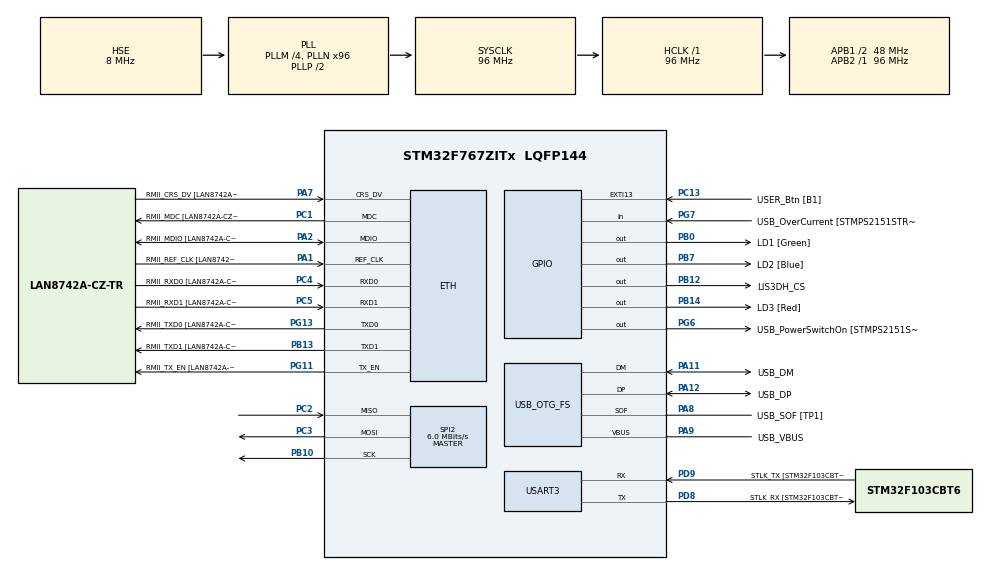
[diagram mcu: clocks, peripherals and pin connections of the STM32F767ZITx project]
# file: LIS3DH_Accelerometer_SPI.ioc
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ETH.MediaInterface=HAL_ETH_RMII_MODE
ETH.PHY_Name=LAN8742A_PHY_ADDRESS
ETH.PHY_Value=0
ETH.PhyAddress=0
Mcu.Family=STM32F7
Mcu.Name=STM32F767ZITx
Mcu.Package=LQFP144
NVIC.PriorityGroup=NVIC_PRIORITYGROUP_4
PA1.GPIO_Label=RMII_REF_CLK [LAN8742A-CZ-TR_REFCLK0]
PA1.Mode=RMII
PA1.Signal=ETH_REF_CLK
PA10.GPIO_Label=USB_ID
PA10.Signal=USB_OTG_FS_ID
PA11.GPIO_Label=USB_DM
PA11.Mode=Device_Only
PA11.Signal=USB_OTG_FS_DM
PA12.GPIO_Label=USB_DP
PA12.Mode=Device_Only
PA12.Signal=USB_OTG_FS_DP
PA13.GPIO_Label=TMS
PA13.Mode=Serial_Wire
PA13.Signal=SYS_JTMS-SWDIO
PA14.GPIO_Label=TCK
PA14.Mode=Serial_Wire
PA14.Signal=SYS_JTCK-SWCLK
PA2.GPIO_Label=RMII_MDIO [LAN8742A-CZ-TR_MDIO]
PA2.Mode=RMII
PA2.Signal=ETH_MDIO
PA7.GPIO_Label=RMII_CRS_DV [LAN8742A-CZ-TR_CRS_DV]
PA7.Mode=RMII
PA7.Signal=ETH_CRS_DV
PA8.GPIO_Label=USB_SOF [TP1]
PA8.Mode=Activate_SOF_FS
PA8.Signal=USB_OTG_FS_SOF
PA9.GPIO_Label=USB_VBUS
PA9.Mode=Activate_VBUS
PA9.Signal=USB_OTG_FS_VBUS
PB0.GPIO_Label=LD1 [Green]
PB0.Signal=GPIO_Output
PB10.Mode=Full_Duplex_Master
PB10.Signal=SPI2_SCK
PB12.GPIO_Label=LIS3DH_CS
PB12.PinState=GPIO_PIN_SET
PB12.Signal=GPIO_Output
PB13.GPIO_Label=RMII_TXD1 [LAN8742A-CZ-TR_TXD1]
PB13.Mode=RMII
PB13.Signal=ETH_TXD1
PB14.GPIO_Label=LD3 [Red]
PB14.Signal=GPIO_Output
PB3.GPIO_Label=SWO
PB3.Signal=SYS_JTDO-SWO
PB7.GPIO_Label=LD2 [Blue]
PB7.Signal=GPIO_Output
PC1.GPIO_Label=RMII_MDC [LAN8742A-CZ-TR_MDC]
PC1.Mode=RMII
PC1.Signal=ETH_MDC
PC13.GPIO_Label=USER_Btn [B1]
PC13.Signal=GPXTI13
PC14/OSC32_IN.Mode=LSE-External-Oscillator
PC14/OSC32_IN.Signal=RCC_OSC32_IN
PC15/OSC32_OUT.Mode=LSE-External-Oscillator
PC15/OSC32_OUT.Signal=RCC_OSC32_OUT
PC2.Mode=Full_Duplex_Master
PC2.Signal=SPI2_MISO
PC3.Mode=Full_Duplex_Master
PC3.Signal=SPI2_MOSI
PC4.GPIO_Label=RMII_RXD0 [LAN8742A-CZ-TR_RXD0]
PC4.Mode=RMII
PC4.Signal=ETH_RXD0
PC5.GPIO_Label=RMII_RXD1 [LAN8742A-CZ-TR_RXD1]
PC5.Mode=RMII
PC5.Signal=ETH_RXD1
PD8.GPIO_Label=STLK_RX [STM32F103CBT6_PA3]
PD8.Mode=Asynchronous
PD8.Signal=USART3_TX
PD9.GPIO_Label=STLK_TX [STM32F103CBT6_PA2]
PD9.Mode=Asynchronous
PD9.Signal=USART3_RX
PG11.GPIO_Label=RMII_TX_EN [LAN8742A-CZ-TR_TXEN]
PG11.Mode=RMII
PG11.Signal=ETH_TX_EN
PG13.GPIO_Label=RMII_TXD0 [LAN8742A-CZ-TR_TXD0]
PG13.Mode=RMII
PG13.Signal=ETH_TXD0
PG6.GPIO_Label=USB_PowerSwitchOn [STMPS2151STR_EN]
PG6.Signal=GPIO_Output
PG7.GPIO_Label=USB_OverCurrent [STMPS2151STR_FAULT]
PG7.Signal=GPIO_Input
PH0/OSC_IN.GPIO_Label=MCO [STM32F103CBT6_PA8]
PH0/OSC_IN.Mode=HSE-External-Clock-Source
PH0/OSC_IN.Signal=RCC_OSC_IN
PH1/OSC_OUT.Mode=HSE-External-Clock-Source
PH1/OSC_OUT.Signal=RCC_OSC_OUT
ProjectManager.HeapSize=0x200
ProjectManager.StackSize=0x400
ProjectManager.TargetToolchain=STM32CubeIDE
RCC.48MHZClocksFreq_Value=24000000
RCC.AHBFreq_Value=96000000
RCC.APB1CLKDivider=RCC_HCLK_DIV2
RCC.APB1Freq_Value=48000000
RCC.APB1TimFreq_Value=96000000
RCC.APB2Freq_Value=96000000
RCC.APB2TimFreq_Value=96000000
RCC.CortexFreq_Value=96000000
RCC.HCLKFreq_Value=96000000
RCC.HSE_VALUE=8000000
RCC.HSI_VALUE=16000000
RCC.PLLM=4
RCC.PLLMUL=RCC_PLL_MUL9
RCC.PLLN=96
RCC.PLLQ=4
RCC.PRESCALERUSB=RCC_USBCLKSOURCE_PLL_DIV1_5
RCC.SYSCLKFreq_VALUE=96000000
RCC.SYSCLKSource=RCC_SYSCLKSOURCE_PLLCLK
RCC.SYSCLKSourceVirtual=RCC_SYSCLKSOURCE_PLLCLK
RCC.USBFreq_Value=48000000
RCC.VCOOutputFreq_Value=192000000
SPI2.BaudRatePrescaler=SPI_BAUDRATEPRESCALER_8
SPI2.CalculateBaudRate=6.0 MBits/s
SPI2.DataSize=SPI_DATASIZE_8BIT
SPI2.Direction=SPI_DIRECTION_2LINES
SPI2.Mode=SPI_MODE_MASTER
SPI2.VirtualType=VM_MASTER
USART3.VirtualMode-Asynchronous=VM_ASYNC
USB_OTG_FS.VirtualMode=Device_Only
board=NUCLEO-F767ZI

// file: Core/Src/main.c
/* USER CODE BEGIN Header */
/**
  ******************************************************************************
  * @file           : main.c
  * @brief          : Main program body
  ******************************************************************************
  * @attention
  *
  * Copyright (c) 2025 STMicroelectronics.
  * All rights reserved.
  *
  * This software is licensed under terms that can be found in the LICENSE file
  * in the root directory of this software component.
  * If no LICENSE file comes with this software, it is provided AS-IS.
  *
  ******************************************************************************
  */
/* USER CODE END Header */
#include "main.h"
#include "string.h"

/* USER CODE BEGIN Includes */
#include "lis3dh.h"
#include <stdio.h>
#include <string.h>
/* USER CODE END Includes */

#if defined ( __ICCARM__ ) /*!< IAR Compiler */
#pragma location=0x2007c000
ETH_DMADescTypeDef  DMARxDscrTab[ETH_RX_DESC_CNT]; /* Ethernet Rx DMA Descriptors */
#pragma location=0x2007c0a0
ETH_DMADescTypeDef  DMATxDscrTab[ETH_TX_DESC_CNT]; /* Ethernet Tx DMA Descriptors */

#elif defined ( __CC_ARM )  /* MDK ARM Compiler */

__attribute__((at(0x2007c000))) ETH_DMADescTypeDef  DMARxDscrTab[ETH_RX_DESC_CNT]; /* Ethernet Rx DMA Descriptors */
__attribute__((at(0x2007c0a0))) ETH_DMADescTypeDef  DMATxDscrTab[ETH_TX_DESC_CNT]; /* Ethernet Tx DMA Descriptors */

#elif defined ( __GNUC__ ) /* GNU Compiler */

ETH_DMADescTypeDef DMARxDscrTab[ETH_RX_DESC_CNT] __attribute__((section(".RxDecripSection"))); /* Ethernet Rx DMA Descriptors */
ETH_DMADescTypeDef DMATxDscrTab[ETH_TX_DESC_CNT] __attribute__((section(".TxDecripSection")));   /* Ethernet Tx DMA Descriptors */
#endif

ETH_TxPacketConfig TxConfig;

ETH_HandleTypeDef heth;

SPI_HandleTypeDef hspi2;

UART_HandleTypeDef huart3;

PCD_HandleTypeDef hpcd_USB_OTG_FS;

/* USER CODE BEGIN PV */
LIS3DH_Data accel_data;
char uart_buffer[100];
/* USER CODE END PV */

void SystemClock_Config(void);
static void MX_GPIO_Init(void);
static void MX_ETH_Init(void);
static void MX_USART3_UART_Init(void);
static void MX_USB_OTG_FS_PCD_Init(void);
static void MX_SPI2_Init(void);

int main(void)
{

  /* MCU Configuration--------------------------------------------------------*/

  /* Reset of all peripherals, Initializes the Flash interface and the Systick. */
  HAL_Init();

  /* Configure the system clock */
  SystemClock_Config();

  /* Initialize all configured peripherals */
  MX_GPIO_Init();
  MX_ETH_Init();
  MX_USART3_UART_Init();
  MX_USB_OTG_FS_PCD_Init();
  MX_SPI2_Init();
  /* USER CODE BEGIN 2 */
  /* USER CODE BEGIN 2 */
  /* USER CODE BEGIN 2 */
  sprintf(uart_buffer, "\r\n=== LIS3DH Test with SPI2 ===\r\n");
  HAL_UART_Transmit(&huart3, (uint8_t*)uart_buffer, strlen(uart_buffer), 100);

  sprintf(uart_buffer, "Connections: PB10=SCK, PC3=MOSI, PC2=MISO, PB12=CS\r\n\r\n");
  HAL_UART_Transmit(&huart3, (uint8_t*)uart_buffer, strlen(uart_buffer), 100);

  // CS pinini HIGH yap
  HAL_GPIO_WritePin(LIS3DH_CS_GPIO_Port, LIS3DH_CS_Pin, GPIO_PIN_SET);
  HAL_Delay(100);

  // LIS3DH sensörünü başlat (hspi2 kullan!)
  uint8_t sensor_id = LIS3DH_Init(&hspi2);  // ← ÖNEMLİ: hspi1 değil, hspi2!

  sprintf(uart_buffer, "Device ID: 0x%02X (Expected: 0x33)\r\n", sensor_id);
  HAL_UART_Transmit(&huart3, (uint8_t*)uart_buffer, strlen(uart_buffer), 100);

  if (sensor_id == LIS3DH_ID) {
      sprintf(uart_buffer, "SUCCESS! LIS3DH initialized!\r\n\r\n");
      HAL_UART_Transmit(&huart3, (uint8_t*)uart_buffer, strlen(uart_buffer), 100);
  } else {
      sprintf(uart_buffer, "FAILED! Check connections.\r\n\r\n");
      HAL_UART_Transmit(&huart3, (uint8_t*)uart_buffer, strlen(uart_buffer), 100);
  }
  /* USER CODE END 2 */

  /* Infinite loop */
  /* USER CODE BEGIN WHILE */
  while (1)
  {
	  // İvme verilerini oku
	      LIS3DH_ReadAccel(&hspi2, &accel_data);

	      // Terminal'e yazdır
	      sprintf(uart_buffer, "X: %6d (%+.3fg) | Y: %6d (%+.3fg) | Z: %6d (%+.3fg)\r\n",
	              accel_data.x, accel_data.x_g,
	              accel_data.y, accel_data.y_g,
	              accel_data.z, accel_data.z_g);

	      HAL_UART_Transmit(&huart3, (uint8_t*)uart_buffer, strlen(uart_buffer), 100);

	      HAL_Delay(500); // 500ms bekleme
    /* USER CODE END WHILE */

  }
}

void SystemClock_Config(void)
{
  RCC_OscInitTypeDef RCC_OscInitStruct = {0};
  RCC_ClkInitTypeDef RCC_ClkInitStruct = {0};

  /** Configure LSE Drive Capability
  */
  HAL_PWR_EnableBkUpAccess();

  /** Configure the main internal regulator output voltage
  */
  __HAL_RCC_PWR_CLK_ENABLE();
  __HAL_PWR_VOLTAGESCALING_CONFIG(PWR_REGULATOR_VOLTAGE_SCALE3);

  /** Initializes the RCC Oscillators according to the specified parameters
  * in the RCC_OscInitTypeDef structure.
  */
  RCC_OscInitStruct.OscillatorType = RCC_OSCILLATORTYPE_HSE;
  RCC_OscInitStruct.HSEState = RCC_HSE_BYPASS;
  RCC_OscInitStruct.PLL.PLLState = RCC_PLL_ON;
  RCC_OscInitStruct.PLL.PLLSource = RCC_PLLSOURCE_HSE;
  RCC_OscInitStruct.PLL.PLLM = 4;
  RCC_OscInitStruct.PLL.PLLN = 96;
  RCC_OscInitStruct.PLL.PLLP = RCC_PLLP_DIV2;
  RCC_OscInitStruct.PLL.PLLQ = 4;
  RCC_OscInitStruct.PLL.PLLR = 2;
  if (HAL_RCC_OscConfig(&RCC_OscInitStruct) != HAL_OK)
  {
    Error_Handler();
  }

  /** Activate the Over-Drive mode
  */
  if (HAL_PWREx_EnableOverDrive() != HAL_OK)
  {
    Error_Handler();
  }

  /** Initializes the CPU, AHB and APB buses clocks
  */
  RCC_ClkInitStruct.ClockType = RCC_CLOCKTYPE_HCLK|RCC_CLOCKTYPE_SYSCLK
                              |RCC_CLOCKTYPE_PCLK1|RCC_CLOCKTYPE_PCLK2;
  RCC_ClkInitStruct.SYSCLKSource = RCC_SYSCLKSOURCE_PLLCLK;
  RCC_ClkInitStruct.AHBCLKDivider = RCC_SYSCLK_DIV1;
  RCC_ClkInitStruct.APB1CLKDivider = RCC_HCLK_DIV2;
  RCC_ClkInitStruct.APB2CLKDivider = RCC_HCLK_DIV1;

  if (HAL_RCC_ClockConfig(&RCC_ClkInitStruct, FLASH_LATENCY_3) != HAL_OK)
  {
    Error_Handler();
  }
}

static void MX_ETH_Init(void)
{

   static uint8_t MACAddr[6];

  heth.Instance = ETH;
  MACAddr[0] = 0x00;
  MACAddr[1] = 0x80;
  MACAddr[2] = 0xE1;
  MACAddr[3] = 0x00;
  MACAddr[4] = 0x00;
  MACAddr[5] = 0x00;
  heth.Init.MACAddr = &MACAddr[0];
  heth.Init.MediaInterface = HAL_ETH_RMII_MODE;
  heth.Init.TxDesc = DMATxDscrTab;
  heth.Init.RxDesc = DMARxDscrTab;
  heth.Init.RxBuffLen = 1524;

  if (HAL_ETH_Init(&heth) != HAL_OK)
  {
    Error_Handler();
  }

  memset(&TxConfig, 0 , sizeof(ETH_TxPacketConfig));
  TxConfig.Attributes = ETH_TX_PACKETS_FEATURES_CSUM | ETH_TX_PACKETS_FEATURES_CRCPAD;
  TxConfig.ChecksumCtrl = ETH_CHECKSUM_IPHDR_PAYLOAD_INSERT_PHDR_CALC;
  TxConfig.CRCPadCtrl = ETH_CRC_PAD_INSERT;

}

static void MX_SPI2_Init(void)
{

  /* SPI2 parameter configuration*/
  hspi2.Instance = SPI2;
  hspi2.Init.Mode = SPI_MODE_MASTER;
  hspi2.Init.Direction = SPI_DIRECTION_2LINES;
  hspi2.Init.DataSize = SPI_DATASIZE_8BIT;
  hspi2.Init.CLKPolarity = SPI_POLARITY_LOW;
  hspi2.Init.CLKPhase = SPI_PHASE_1EDGE;
  hspi2.Init.NSS = SPI_NSS_SOFT;
  hspi2.Init.BaudRatePrescaler = SPI_BAUDRATEPRESCALER_8;
  hspi2.Init.FirstBit = SPI_FIRSTBIT_MSB;
  hspi2.Init.TIMode = SPI_TIMODE_DISABLE;
  hspi2.Init.CRCCalculation = SPI_CRCCALCULATION_DISABLE;
  hspi2.Init.CRCPolynomial = 7;
  hspi2.Init.CRCLength = SPI_CRC_LENGTH_DATASIZE;
  hspi2.Init.NSSPMode = SPI_NSS_PULSE_ENABLE;
  if (HAL_SPI_Init(&hspi2) != HAL_OK)
  {
    Error_Handler();
  }

}

static void MX_USART3_UART_Init(void)
{

  huart3.Instance = USART3;
  huart3.Init.BaudRate = 115200;
  huart3.Init.WordLength = UART_WORDLENGTH_8B;
  huart3.Init.StopBits = UART_STOPBITS_1;
  huart3.Init.Parity = UART_PARITY_NONE;
  huart3.Init.Mode = UART_MODE_TX_RX;
  huart3.Init.HwFlowCtl = UART_HWCONTROL_NONE;
  huart3.Init.OverSampling = UART_OVERSAMPLING_16;
  huart3.Init.OneBitSampling = UART_ONE_BIT_SAMPLE_DISABLE;
  huart3.AdvancedInit.AdvFeatureInit = UART_ADVFEATURE_NO_INIT;
  if (HAL_UART_Init(&huart3) != HAL_OK)
  {
    Error_Handler();
  }

}

static void MX_USB_OTG_FS_PCD_Init(void)
{

  hpcd_USB_OTG_FS.Instance = USB_OTG_FS;
  hpcd_USB_OTG_FS.Init.dev_endpoints = 6;
  hpcd_USB_OTG_FS.Init.speed = PCD_SPEED_FULL;
  hpcd_USB_OTG_FS.Init.dma_enable = DISABLE;
  hpcd_USB_OTG_FS.Init.phy_itface = PCD_PHY_EMBEDDED;
  hpcd_USB_OTG_FS.Init.Sof_enable = ENABLE;
  hpcd_USB_OTG_FS.Init.low_power_enable = DISABLE;
  hpcd_USB_OTG_FS.Init.lpm_enable = DISABLE;
  hpcd_USB_OTG_FS.Init.vbus_sensing_enable = ENABLE;
  hpcd_USB_OTG_FS.Init.use_dedicated_ep1 = DISABLE;
  if (HAL_PCD_Init(&hpcd_USB_OTG_FS) != HAL_OK)
  {
    Error_Handler();
  }

}

static void MX_GPIO_Init(void)
{
  GPIO_InitTypeDef GPIO_InitStruct = {0};

  /* GPIO Ports Clock Enable */
  __HAL_RCC_GPIOC_CLK_ENABLE();
  __HAL_RCC_GPIOH_CLK_ENABLE();
  __HAL_RCC_GPIOA_CLK_ENABLE();
  __HAL_RCC_GPIOB_CLK_ENABLE();
  __HAL_RCC_GPIOD_CLK_ENABLE();
  __HAL_RCC_GPIOG_CLK_ENABLE();

  /*Configure GPIO pin Output Level */
  HAL_GPIO_WritePin(GPIOB, LD1_Pin|LD3_Pin|LD2_Pin, GPIO_PIN_RESET);

  /*Configure GPIO pin Output Level */
  HAL_GPIO_WritePin(LIS3DH_CS_GPIO_Port, LIS3DH_CS_Pin, GPIO_PIN_SET);

  /*Configure GPIO pin Output Level */
  HAL_GPIO_WritePin(USB_PowerSwitchOn_GPIO_Port, USB_PowerSwitchOn_Pin, GPIO_PIN_RESET);

  /*Configure GPIO pin : USER_Btn_Pin */
  GPIO_InitStruct.Pin = USER_Btn_Pin;
  GPIO_InitStruct.Mode = GPIO_MODE_IT_RISING;
  GPIO_InitStruct.Pull = GPIO_NOPULL;
  HAL_GPIO_Init(USER_Btn_GPIO_Port, &GPIO_InitStruct);

  /*Configure GPIO pins : LD1_Pin LIS3DH_CS_Pin LD3_Pin LD2_Pin */
  GPIO_InitStruct.Pin = LD1_Pin|LIS3DH_CS_Pin|LD3_Pin|LD2_Pin;
  GPIO_InitStruct.Mode = GPIO_MODE_OUTPUT_PP;
  GPIO_InitStruct.Pull = GPIO_NOPULL;
  GPIO_InitStruct.Speed = GPIO_SPEED_FREQ_LOW;
  HAL_GPIO_Init(GPIOB, &GPIO_InitStruct);

  /*Configure GPIO pin : USB_PowerSwitchOn_Pin */
  GPIO_InitStruct.Pin = USB_PowerSwitchOn_Pin;
  GPIO_InitStruct.Mode = GPIO_MODE_OUTPUT_PP;
  GPIO_InitStruct.Pull = GPIO_NOPULL;
  GPIO_InitStruct.Speed = GPIO_SPEED_FREQ_LOW;
  HAL_GPIO_Init(USB_PowerSwitchOn_GPIO_Port, &GPIO_InitStruct);

  /*Configure GPIO pin : USB_OverCurrent_Pin */
  GPIO_InitStruct.Pin = USB_OverCurrent_Pin;
  GPIO_InitStruct.Mode = GPIO_MODE_INPUT;
  GPIO_InitStruct.Pull = GPIO_NOPULL;
  HAL_GPIO_Init(USB_OverCurrent_GPIO_Port, &GPIO_InitStruct);

  /* USER CODE BEGIN MX_GPIO_Init_2 */
  // LIS3DH Chip Select (CS) pini ayarı
  GPIO_InitTypeDef GPIO_InitStruct2 = {0};

  /* PA4 pinini CS olarak ayarlıyoruz */
  GPIO_InitStruct2.Pin = GPIO_PIN_4;
  GPIO_InitStruct2.Mode = GPIO_MODE_OUTPUT_PP;
  GPIO_InitStruct2.Pull = GPIO_NOPULL;
  GPIO_InitStruct2.Speed = GPIO_SPEED_FREQ_HIGH;
  HAL_GPIO_Init(GPIOA, &GPIO_InitStruct2);

  /* Başlangıçta CS pinini HIGH yap (sensör seçilmesin) */
  HAL_GPIO_WritePin(GPIOA, GPIO_PIN_4, GPIO_PIN_SET);

  /* USER CODE END MX_GPIO_Init_2 */
}

void Error_Handler(void)
{
  __disable_irq();
  while (1)
  {
  }
}
